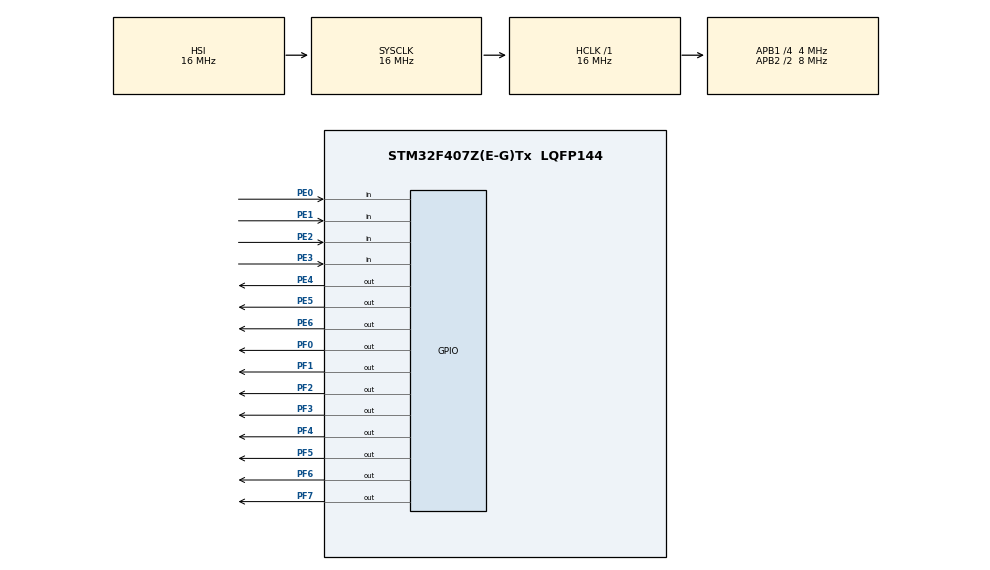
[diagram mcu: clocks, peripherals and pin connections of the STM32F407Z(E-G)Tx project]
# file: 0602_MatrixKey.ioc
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Mcu.Family=STM32F4
Mcu.Name=STM32F407Z(E-G)Tx
Mcu.Package=LQFP144
NVIC.PriorityGroup=NVIC_PRIORITYGROUP_4
PA13.Mode=Serial_Wire
PA13.Signal=SYS_JTMS-SWDIO
PA14.Mode=Serial_Wire
PA14.Signal=SYS_JTCK-SWCLK
PC14-OSC32_IN.Mode=LSE-External-Oscillator
PC14-OSC32_IN.Signal=RCC_OSC32_IN
PC15-OSC32_OUT.Mode=LSE-External-Oscillator
PC15-OSC32_OUT.Signal=RCC_OSC32_OUT
PE0.GPIO_PuPd=GPIO_PULLUP
PE0.Signal=GPIO_Input
PE1.GPIO_PuPd=GPIO_PULLUP
PE1.Signal=GPIO_Input
PE2.GPIO_PuPd=GPIO_PULLUP
PE2.Signal=GPIO_Input
PE3.GPIO_PuPd=GPIO_PULLUP
PE3.Signal=GPIO_Input
PE4.PinState=GPIO_PIN_SET
PE4.Signal=GPIO_Output
PE5.PinState=GPIO_PIN_SET
PE5.Signal=GPIO_Output
PE6.PinState=GPIO_PIN_SET
PE6.Signal=GPIO_Output
PF0.PinState=GPIO_PIN_SET
PF0.Signal=GPIO_Output
PF1.PinState=GPIO_PIN_SET
PF1.Signal=GPIO_Output
PF2.PinState=GPIO_PIN_SET
PF2.Signal=GPIO_Output
PF3.PinState=GPIO_PIN_SET
PF3.Signal=GPIO_Output
PF4.PinState=GPIO_PIN_SET
PF4.Signal=GPIO_Output
PF5.PinState=GPIO_PIN_SET
PF5.Signal=GPIO_Output
PF6.PinState=GPIO_PIN_SET
PF6.Signal=GPIO_Output
PF7.PinState=GPIO_PIN_SET
PF7.Signal=GPIO_Output
PH0-OSC_IN.Mode=HSE-External-Oscillator
PH0-OSC_IN.Signal=RCC_OSC_IN
PH1-OSC_OUT.Mode=HSE-External-Oscillator
PH1-OSC_OUT.Signal=RCC_OSC_OUT
ProjectManager.HeapSize=0x200
ProjectManager.StackSize=0x400
ProjectManager.TargetToolchain=STM32CubeIDE
RCC.48MHZClocksFreq_Value=84000000
RCC.AHBFreq_Value=16000000
RCC.APB1CLKDivider=RCC_HCLK_DIV4
RCC.APB1Freq_Value=4000000
RCC.APB1TimFreq_Value=8000000
RCC.APB2CLKDivider=RCC_HCLK_DIV2
RCC.APB2Freq_Value=8000000
RCC.APB2TimFreq_Value=16000000
RCC.CortexFreq_Value=16000000
RCC.HSE_VALUE=8000000
RCC.HSI_VALUE=16000000
RCC.PLLM=4
RCC.PLLN=168
RCC.PLLSourceVirtual=RCC_PLLSOURCE_HSE
RCC.SYSCLKFreq_VALUE=16000000
RCC.VCOOutputFreq_Value=336000000
board=custom

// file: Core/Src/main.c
/* USER CODE BEGIN Header */
/**
  ******************************************************************************
  * @file           : main.c
  * @brief          : Main program body
  ******************************************************************************
  * @attention
  *
  * Copyright (c) 2026 STMicroelectronics.
  * All rights reserved.
  *
  * This software is licensed under terms that can be found in the LICENSE file
  * in the root directory of this software component.
  * If no LICENSE file comes with this software, it is provided AS-IS.
  *
  ******************************************************************************
  */
/* USER CODE END Header */
#include "main.h"
#include "gpio.h"

/* USER CODE BEGIN Includes */
/* USER CODE BEGIN Includes */
#include "stdint.h"
/* USER CODE END Includes */

/* USER CODE END Includes */

void SystemClock_Config(void);
/* USER CODE BEGIN PFP */
/* USER CODE BEGIN PFP */
uint8_t KeyScan(void);
/* USER CODE END PFP */

/* USER CODE END PFP */

/* USER CODE BEGIN 0 */
/* USER CODE BEGIN 0 */
uint8_t PreLine[3] = {0,1,2};
uint8_t KeyVal = 0;

uint8_t KeyScan(void)
{
    uint8_t i;
    KeyVal = 0;
    for(i = 0; i < 3; i++)
    {
        // 先拉高全部行 PE4 PE5 PE6
        GPIOE->ODR |= (1<<4)|(1<<5)|(1<<6);
        // 拉低当前选中行
        GPIOE->ODR &= ~(1 << (i + 4));

        if((GPIOE->IDR & 0x0F) != 0x0F)
        {
            HAL_Delay(16);
            if((GPIOE->IDR & 0x0F) != 0x0F)
            {
                switch((GPIOE->IDR & 0x0F))
                {
                    case 0x0E: KeyVal = 4 * PreLine[i] + 1; break;
                    case 0x0D: KeyVal = 4 * PreLine[i] + 2; break;
                    case 0x0B: KeyVal = 4 * PreLine[i] + 3; break;
                    case 0x07: KeyVal = 4 * PreLine[i] + 4; break;
                    default : break;
                }
                // 等待松手
                while((GPIOE->IDR & 0x0F) != 0x0F);
            }
        }
    }
    return KeyVal;
}
/* USER CODE END 0 */

/* USER CODE END 0 */

int main(void)
{

  /* MCU Configuration--------------------------------------------------------*/

  /* Reset of all peripherals, Initializes the Flash interface and the Systick. */
  HAL_Init();

  /* Configure the system clock */
  SystemClock_Config();

  /* Initialize all configured peripherals */
  MX_GPIO_Init();
  /* USER CODE BEGIN 2 */

  /* USER CODE END PFP */

  /* USER CODE END 2 */

  /* Infinite loop */
  while (1)
  {

    /* USER CODE BEGIN 3 */
	  /* USER CODE BEGIN 3 */
	  uint8_t key;
	  key = KeyScan();
	  if(key != 0)
	  {
	      // 和你原来这句完全一样：GPIOF->ODR = ~((KeyVal/10 << 4) + KeyVal % 10);
	      GPIOF->ODR = ~( ((KeyVal / 10) << 4) + (KeyVal % 10) );
	  }
	  /* USER CODE END 3 */

  }
  /* USER CODE END 3 */
}

void SystemClock_Config(void)
{
  RCC_OscInitTypeDef RCC_OscInitStruct = {0};
  RCC_ClkInitTypeDef RCC_ClkInitStruct = {0};

  /** Configure the main internal regulator output voltage
  */
  __HAL_RCC_PWR_CLK_ENABLE();
  __HAL_PWR_VOLTAGESCALING_CONFIG(PWR_REGULATOR_VOLTAGE_SCALE1);

  /** Initializes the RCC Oscillators according to the specified parameters
  * in the RCC_OscInitTypeDef structure.
  */
  RCC_OscInitStruct.OscillatorType = RCC_OSCILLATORTYPE_HSI;
  RCC_OscInitStruct.HSIState = RCC_HSI_ON;
  RCC_OscInitStruct.HSICalibrationValue = RCC_HSICALIBRATION_DEFAULT;
  RCC_OscInitStruct.PLL.PLLState = RCC_PLL_NONE;
  if (HAL_RCC_OscConfig(&RCC_OscInitStruct) != HAL_OK)
  {
    Error_Handler();
  }

  /** Initializes the CPU, AHB and APB buses clocks
  */
  RCC_ClkInitStruct.ClockType = RCC_CLOCKTYPE_HCLK|RCC_CLOCKTYPE_SYSCLK
                              |RCC_CLOCKTYPE_PCLK1|RCC_CLOCKTYPE_PCLK2;
  RCC_ClkInitStruct.SYSCLKSource = RCC_SYSCLKSOURCE_HSI;
  RCC_ClkInitStruct.AHBCLKDivider = RCC_SYSCLK_DIV1;
  RCC_ClkInitStruct.APB1CLKDivider = RCC_HCLK_DIV4;
  RCC_ClkInitStruct.APB2CLKDivider = RCC_HCLK_DIV2;

  if (HAL_RCC_ClockConfig(&RCC_ClkInitStruct, FLASH_LATENCY_0) != HAL_OK)
  {
    Error_Handler();
  }
}

void Error_Handler(void)
{
  __disable_irq();
  while (1)
  {
  }
}
